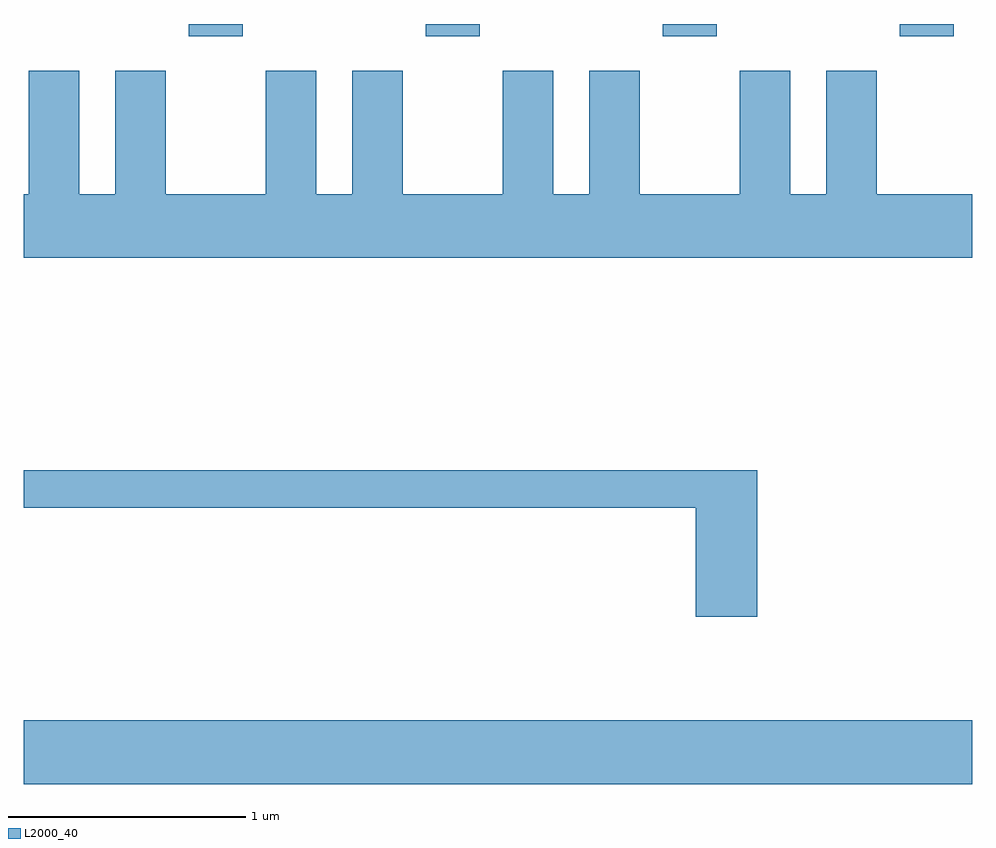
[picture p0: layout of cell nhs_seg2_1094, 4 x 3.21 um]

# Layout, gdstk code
import gdstk
lib = gdstk.Library(unit=1e-6, precision=1e-09)
def R(c, l, rs):  # rectangles x0, y0, x1, y1
    for r in rs: c.add(gdstk.rectangle(r[:2], r[2:], *l))
def A(c, l, x, y, w, h, nx, ny, dx, dy):  # array of equal rectangles
    R(c, l, [(x+i*dx, y+j*dy, x+i*dx+w, y+j*dy+h) for i in range(nx) for j in range(ny)])
def P(c, l, *ps):  # polygons
    for p in ps: c.add(gdstk.Polygon(p, *l))
L2000_40 = (2000, 40)

nhs_seg2_1094 = lib.new_cell('nhs_seg2_1094')
A(nhs_seg2_1094, L2000_40, 218.306, 993.751, 0.228, 0.051, 4, 1, 1, 0)
R(nhs_seg2_1094, L2000_40, [(217.611,990.596,221.611,990.864)])
P(nhs_seg2_1094, L2000_40, [(221.611,993.084),(221.209,993.084),(221.209,993.604),(220.996,993.604),(220.996,993.084),(220.844,993.084),(220.844,993.604),(220.631,993.604),(220.631,993.084),(220.209,993.084),(220.209,993.604),(219.996,993.604),(219.996,993.084),(219.844,993.084),(219.844,993.604),(219.631,993.604),(219.631,993.084),(219.209,993.084),(219.209,993.604),(218.996,993.604),(218.996,993.084),(218.844,993.084),(218.844,993.604),(218.631,993.604),(218.631,993.084),(218.209,993.084),(218.209,993.604),(217.996,993.604),(217.996,993.084),(217.844,993.084),(217.844,993.604),(217.631,993.604),(217.631,993.084),(217.611,993.084),(217.611,992.816),(221.611,992.816)],
  [(220.704,991.919),(217.611,991.919),(217.611,991.761),(220.446,991.761),(220.446,991.301),(220.704,991.301)])

lib.write_gds('nhs_seg2_1094.gds')
